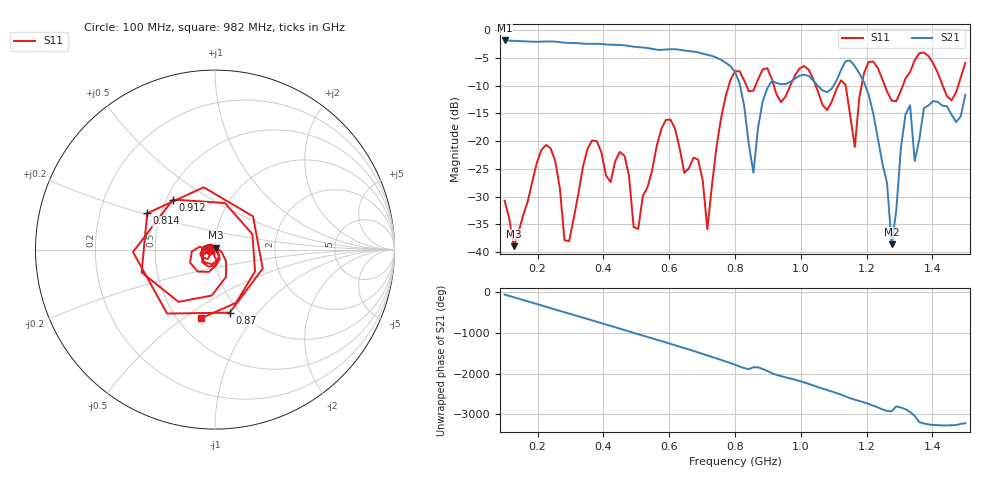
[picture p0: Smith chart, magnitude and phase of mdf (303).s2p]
! NanoVNA-App
! Date: 2025-09-25 15:40:47
! Start: 100MHz Stop: 1,5GHz Points: 101
! S-Parameter data: F S11 S21 S12 S22
# Hz S RI R 50
!  Frequency  S11_Real  S11_Imag  S21_Real  S21_Imag  S12_Real  S12_Imag  S22_Real  S22_Imag
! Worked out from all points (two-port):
!   101 points, 100 MHz to 1.5 GHz, reference 50 ohm
!   highest |S21| = -1.80 dB at 100 MHz (marker M1); lowest = -38.6 dB at 1.276 GHz (marker M2)
!   |S21| within 3 dB of the highest: start of sweep to 739.5 MHz
!   lowest |S11| = -39.0 dB at 128 MHz (marker M3), VSWR 1.02, Z = 50.3 + j1.08 ohm
!   |S11| at or under -10 dB: start of sweep to 781 MHz; 1.045 GHz to 1.114 GHz (68.09 MHz wide, 6.31 % of centre); 1.255 GHz to 1.31 GHz (54.31 MHz wide, 4.23 % of centre)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
!   S12 and S22 are empty: the file has one direction only
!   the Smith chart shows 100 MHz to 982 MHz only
!   S11 on the Smith chart (normalised r, x): 100 MHz: 0.94, -0.01; 814 MHz: 0.42, +0.21; 870 MHz: 0.90, -0.73; 912 MHz: 0.54, +0.35; 982 MHz: 0.65, -0.59
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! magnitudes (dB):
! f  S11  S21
! 100 MHz  -30.8  -1.8
! 128 MHz  -39.0  -1.9
! 212 MHz  -21.6  -2.0
! 282 MHz  -37.9  -2.2
! 338 MHz  -24.6  -2.4
! 464 MHz  -22.6  -2.7
! 506 MHz  -35.9  -3.0
! 576 MHz  -17.8  -3.5
! 716 MHz  -35.9  -4.4
! 800 MHz  -7.4  -7.5
! 814 MHz  -7.4  -9.6
! 856 MHz  -10.9  -25.7
! 870 MHz  -8.9  -17.6
! 912 MHz  -8.8  -9.1
! 982 MHz  -8.2  -8.7
! 1.038 GHz  -8.8  -9.0
! 1.164 GHz  -21.1  -6.4
! 1.192 GHz  -7.7  -9.4
! 1.276 GHz  -12.7  -38.6
! 1.332 GHz  -7.5  -13.5
! 1.346 GHz  -5.4  -23.6
! 1.5 GHz  -5.8  -11.6
